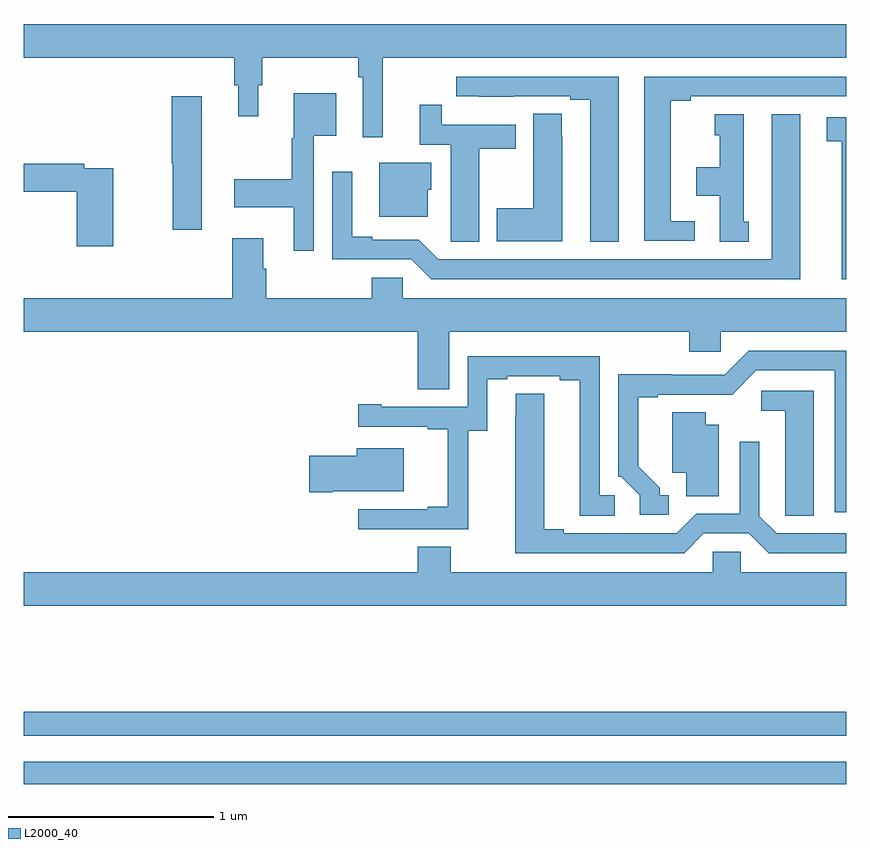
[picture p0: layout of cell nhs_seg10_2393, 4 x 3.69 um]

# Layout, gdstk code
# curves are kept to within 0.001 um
import gdstk
lib = gdstk.Library(unit=1e-6, precision=1e-09)
def R(c, l, rs):  # rectangles x0, y0, x1, y1
    for r in rs: c.add(gdstk.rectangle(r[:2], r[2:], *l))
def P(c, l, *ps):  # polygons
    for p in ps: c.add(gdstk.Polygon(p, *l))
L2000_40 = (2000, 40)

nhs_seg10_2393 = lib.new_cell('nhs_seg10_2393')
R(nhs_seg10_2393, L2000_40, [(239,1292.79,243,1292.898), (239,1293.024,243,1293.14)])
P(nhs_seg10_2393, L2000_40, [(240.746,1296.32),(243,1296.32),(243,1296.484),(239,1296.484),(239,1296.32),(240.025,1296.32),(240.025,1296.186),(240.044,1296.186),(240.044,1296.036),(240.142,1296.036),(240.142,1296.186),(240.161,1296.186),(240.161,1296.32),(240.628,1296.32),(240.628,1296.224),(240.648,1296.224),(240.648,1295.934),(240.746,1295.934)],
  [(242.263,1295.526),(242.146,1295.526),(242.146,1296.112),(242.242,1296.112),(242.242,1296.132),(243,1296.132),(243,1296.228),(242.018,1296.228),(242.018,1295.43),(242.263,1295.43)],
  [(241.894,1296.228),(241.104,1296.228),(241.104,1296.132),(241.216,1296.132),(241.216,1296.131),(241.382,1296.131),(241.382,1296.132),(241.658,1296.132),(241.658,1296.117),(241.754,1296.117),(241.754,1295.425),(241.894,1295.425)],
  [(240.411,1295.942),(240.52,1295.942),(240.52,1296.148),(240.314,1296.148),(240.314,1295.928),(240.303,1295.928),(240.303,1295.729),(240.024,1295.729),(240.024,1295.594),(240.314,1295.594),(240.314,1295.382),(240.411,1295.382)],
  [(239.866,1296.133),(239.72,1296.133),(239.72,1295.808),(239.725,1295.808),(239.725,1295.484),(239.866,1295.484)],
  [(241.216,1295.878),(241.393,1295.878),(241.393,1295.994),(241.034,1295.994),(241.034,1296.091),(240.926,1296.091),(240.926,1295.898),(241.076,1295.898),(241.076,1295.536),(241.077,1295.536),(241.077,1295.425),(241.216,1295.425)],
  [(241.618,1295.939),(241.617,1295.939),(241.617,1296.047),(241.478,1296.047),(241.478,1295.589),(241.301,1295.589),(241.301,1295.429),(241.618,1295.429)],
  [(242.524,1295.523),(242.5,1295.523),(242.5,1296.046),(242.36,1296.046),(242.36,1295.943),(242.384,1295.943),(242.384,1295.788),(242.27,1295.788),(242.27,1295.648),(242.384,1295.648),(242.384,1295.425),(242.524,1295.425)],
  [(242.776,1296.046),(242.636,1296.046),(242.636,1295.34),(241.017,1295.34),(240.921,1295.436),(240.694,1295.436),(240.694,1295.449),(240.598,1295.449),(240.598,1295.767),(240.501,1295.767),(240.501,1295.34),(240.885,1295.34),(240.981,1295.244),(242.776,1295.244)],
  [(243,1296.03),(242.904,1296.03),(242.904,1295.914),(242.978,1295.914),(242.978,1295.244),(243,1295.244)],
  [(240.964,1295.679),(240.982,1295.679),(240.982,1295.809),(240.728,1295.809),(240.728,1295.546),(240.964,1295.546)],
  [(239.436,1295.784),(239.294,1295.784),(239.294,1295.804),(239,1295.804),(239,1295.668),(239.258,1295.668),(239.258,1295.403),(239.436,1295.403)],
  [(241.069,1294.988),(242.237,1294.988),(242.237,1294.89),(242.388,1294.89),(242.388,1294.988),(243,1294.988),(243,1295.152),(240.843,1295.152),(240.843,1295.25),(240.692,1295.25),(240.692,1295.152),(240.179,1295.152),(240.179,1295.294),(240.166,1295.294),(240.166,1295.443),(240.014,1295.443),(240.014,1295.152),(239,1295.152),(239,1294.988),(240.917,1294.988),(240.917,1294.708),(241.069,1294.708)],
  [(242.137,1294.194),(242.092,1294.194),(242.092,1294.229),(241.987,1294.334),(241.987,1294.671),(242.083,1294.671),(242.083,1294.683),(242.444,1294.682),(242.562,1294.8),(242.942,1294.8),(242.942,1294.11),(243,1294.11),(243,1294.896),(242.526,1294.896),(242.409,1294.779),(242.153,1294.779),(242.153,1294.781),(241.89,1294.781),(241.89,1294.284),(241.905,1294.284),(241.995,1294.194),(241.995,1294.098),(242.137,1294.098)],
  [(241.161,1294.507),(241.255,1294.507),(241.255,1294.758),(241.351,1294.758),(241.351,1294.773),(241.607,1294.773),(241.607,1294.753),(241.703,1294.753),(241.703,1294.093),(241.873,1294.093),(241.873,1294.194),(241.8,1294.194),(241.8,1294.869),(241.158,1294.869),(241.158,1294.623),(240.739,1294.623),(240.739,1294.636),(240.627,1294.636),(240.627,1294.527),(240.965,1294.527),(240.965,1294.515),(241.061,1294.515),(241.061,1294.138),(240.965,1294.138),(240.965,1294.125),(240.627,1294.125),(240.627,1294.029),(241.161,1294.029)],
  [(242.842,1294.701),(242.586,1294.701),(242.586,1294.604),(242.702,1294.604),(242.702,1294.201),(242.703,1294.201),(242.703,1294.093),(242.842,1294.093)],
  [(242.307,1294.008),(242.525,1294.008),(242.621,1293.912),(243,1293.912),(243,1294.008),(242.661,1294.008),(242.577,1294.092),(242.577,1294.453),(242.481,1294.453),(242.481,1294.104),(242.271,1294.104),(242.175,1294.008),(241.627,1294.008),(241.627,1294.028),(241.531,1294.028),(241.531,1294.688),(241.392,1294.688),(241.391,1293.912),(242.211,1293.912)],
  [(242.38,1294.537),(242.317,1294.537),(242.317,1294.598),(242.153,1294.598),(242.153,1294.304),(242.222,1294.304),(242.222,1294.189),(242.38,1294.189)],
  [(240.502,1294.214),(240.847,1294.214),(240.847,1294.423),(240.62,1294.423),(240.62,1294.385),(240.39,1294.385),(240.39,1294.207),(240.502,1294.207)],
  [(243,1293.82),(242.487,1293.82),(242.487,1293.918),(242.349,1293.918),(242.349,1293.82),(241.077,1293.82),(241.077,1293.944),(240.917,1293.944),(240.917,1293.82),(239,1293.82),(239,1293.656),(243,1293.656)])

lib.write_gds('nhs_seg10_2393.gds')
